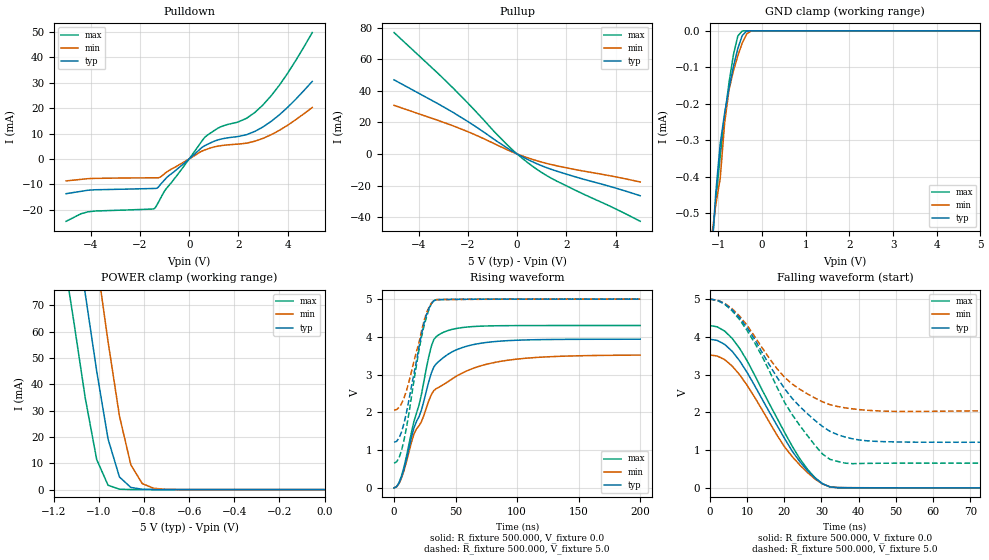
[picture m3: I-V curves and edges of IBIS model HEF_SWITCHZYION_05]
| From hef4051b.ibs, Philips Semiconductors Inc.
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|   Model HEF_SWITCHZYION_05
[Model]   HEF_SWITCHZYION_05
Model_type   I/O
Polarity   Non-Inverting
Enable   Active-High
Vinl  =  3.5V
Vinh  =  1.5V
Vmeas =  2.5V
Cref  =  50.0pF
Rref  =  10k
Vref  =  0.0V
C_comp   3.43E-12   3.07E-12   3.72E-12
|Ambient temperature:   25   85   -40
[Temperature Range]   35   95   -30
[Voltage Range]   5V   5V   5V
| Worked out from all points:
|   slope of the pulldown table from 0 to 0.75 V, typ, clamps not added: 130 ohm
|   slope of the pullup table from 0 to 0.75 V, typ, clamps not added: 129 ohm
|   GND clamp passes 1 mA (typ) near -1.40 V on its own axis
|   POWER clamp passes 1 mA (typ) near -0.86 V on its own axis
|   rising waveform, R_fixture 500.000, V_fixture 0.0: 20-80 % time 21.4ns typ, 33.7ns min, 17.8ns max; typ from 0 V to 3.94 V
|   rising waveform, R_fixture 500.000, V_fixture 5.0: 20-80 % time 13.6ns typ, 13.5ns min, 13.6ns max; typ from 1.21 V to 5 V
|   falling waveform, R_fixture 500.000, V_fixture 0.0: 20-80 % time 14.1ns typ, 14ns min, 14.1ns max; typ from 3.94 V to 0 V
|   falling waveform, R_fixture 500.000, V_fixture 5.0: 20-80 % time 16.2ns typ, 14.5ns min, 14.9ns max; typ from 5 V to 1.21 V
|Process Range   nominal   slow   fast
[Pulldown]
| voltage   I(typ)   I(min)   I(max)
-5V       -13.7mA    -8.666mA   -24.58mA
-4.1V     -12.32mA   -7.766mA   -20.82mA
-1.4V     -11.64mA   -7.447mA   -19.46mA
-1.3V     -11.51mA   -7.442mA   -17.94mA
-950mV    -7.732mA   -5.421mA   -11.95mA
650mV     5.3mA      3.576mA    8.66mA
1.25V     7.696mA    5.158mA    12.49mA
2.333V    9.55mA     6.201mA    16.01mA
3V        12.61mA    8.097mA    21.29mA
3.333V    14.81mA    9.541mA    24.91mA
4V        20.32mA    13.26mA    33.74mA
5V        30.52mA    20.25mA    49.77mA
[Pullup]
| voltage   I(typ)   I(min)   I(max)
-5V       46.98mA    30.82mA    76.97mA
-2.6V     26.33mA    17.84mA    41.76mA
-1.733V   17.84mA    12.34mA    27.86mA
-933.3mV  9.251mA    6.529mA    14.22mA
-400mV    3.718mA    2.631mA    5.757mA
0V        0A         0A         0A
466.7mV   -3.777mA   -2.627mA   -5.918mA
1.033V    -7.699mA   -5.321mA   -12.12mA
1.533V    -10.51mA   -7.236mA   -16.6mA
4V        -21.63mA   -14.51mA   -34.81mA
5V        -26.49mA   -17.76mA   -42.7mA
[GND_clamp]
| voltage   I(typ)   I(min)   I(max)
-5V       -2.783A    -2.848A    -2.725A
-1.162V   -623.9uA   -570.1uA   -607.9uA
-1.061V   -444.3uA   -476.4uA   -466.1uA
-959.6mV  -309.4uA   -405uA     -343.3uA
-858.6mV  -225.9uA   -252.8uA   -235.1uA
-757.6mV  -157.2uA   -161.5uA   -141.9uA
-656.6mV  -97.86uA   -109.6uA   -65.64uA
-555.6mV  -48.32uA   -68.06uA   -14.09uA
-454.5mV  -12.88uA   -33.36uA   -386.8nA
-353.5mV  -658.4nA   -8.746uA   -1.855nA
-252.5mV  -6.754nA   -450.8nA   -4.144pA
5V        70.5fA     3.557pA    60.01fA
[POWER_clamp]
| voltage   I(typ)   I(min)   I(max)
-5V       2.015A     2.107A     1.967A
-1.162V   129.6mA    167.6mA    91.67mA
-1.111V   103.2mA    143.5mA    63.59mA
-1.061V   74.56mA    116.6mA    34.93mA
-1.01V    45.01mA    87.03mA    11.43mA
-959.6mV  19.2mA     56.16mA    1.657mA
-909.1mV  4.786mA    27.95mA    161.3uA
-858.6mV  819.6uA    9.413mA    16.16uA
-808.1mV  133.7uA    2.285mA    2.47uA
-757.6mV  27.06uA    503uA      852nA
-707.1mV  9.461uA    120.9uA    417nA
0V        44.09fA    995.8fA    40fA
[Ramp]
| variable   typ   min   max
dV/dt_r   2.363/21.414E-09   2.110/33.636E-09   2.580/17.763E-09
dV/dt_f   2.363/14.087E-09   2.113/13.978E-09   2.580/14.077E-09
R_load = 500.000
[Rising Waveform]
R_fixture   = 500.000
V_fixture   = 0.0
V_fixture_min = 0.0
V_fixture_max = 0.0
| time   V(typ)   V(min)   V(max)
0s        3.557pV    49.97pV    1.987pV
4.04ns    125.4mV    113.5mV    139mV
8.081ns   505.6mV    459.2mV    555.4mV
16.16ns   1.588V     1.425V     1.759V
22.22ns   2.059V     1.753V     2.471V
30.3ns    3.042V     2.47V      3.753V
36.36ns   3.35V      2.665V     4.056V
56.57ns   3.728V     3.06V      4.251V
88.89ns   3.893V     3.364V     4.296V
200ns     3.938V     3.517V     4.301V
[Rising Waveform]
R_fixture   = 500.000
V_fixture   = 5.0
V_fixture_min = 5.0
V_fixture_max = 5.0
| time   V(typ)   V(min)   V(max)
0s        1.207V     2.06V      653.7mV
4.04ns    1.319V     2.128V     798.5mV
8.081ns   1.709V     2.38V      1.262V
12.12ns   2.336V     2.811V     1.984V
18.18ns   3.36V      3.612V     3.252V
22.22ns   4.063V     4.147V     3.989V
26.26ns   4.578V     4.627V     4.518V
30.3ns    4.88V      4.895V     4.877V
32.32ns   4.957V     4.963V     4.965V
200ns     5V         5V         5V
[Falling Waveform]
R_fixture   = 500.000
V_fixture   = 0.0
V_fixture_min = 0.0
V_fixture_max = 0.0
| time   V(typ)   V(min)   V(max)
0s        3.938V     3.522V     4.301V
2.02ns    3.906V     3.493V     4.266V
4.04ns    3.8V       3.396V     4.152V
6.061ns   3.615V     3.225V     3.957V
10.1ns    3.049V     2.709V     3.357V
20.2ns    1.292V     1.072V     1.454V
24.24ns   692.1mV    602.7mV    768.3mV
28.28ns   256.8mV    233.5mV    270.1mV
32.32ns   25.54mV    27.88mV    21.61mV
200ns     8.741nV    299.3nV    8.854pV
[Falling Waveform]
R_fixture   = 500.000
V_fixture   = 5.0
V_fixture_min = 5.0
V_fixture_max = 5.0
| time   V(typ)   V(min)   V(max)
0s        5V         5V         5V
4.04ns    4.878V     4.89V      4.864V
8.081ns   4.499V     4.546V     4.45V
12.12ns   3.932V     4.003V     3.836V
18.18ns   2.914V     3.145V     2.646V
22.22ns   2.362V     2.747V     1.932V
30.3ns    1.627V     2.28V      896.9mV
36.36ns   1.347V     2.12V      655.4mV
54.55ns   1.211V     2.024V     653.8mV
200ns     1.207V     2.06V      653.7mV
